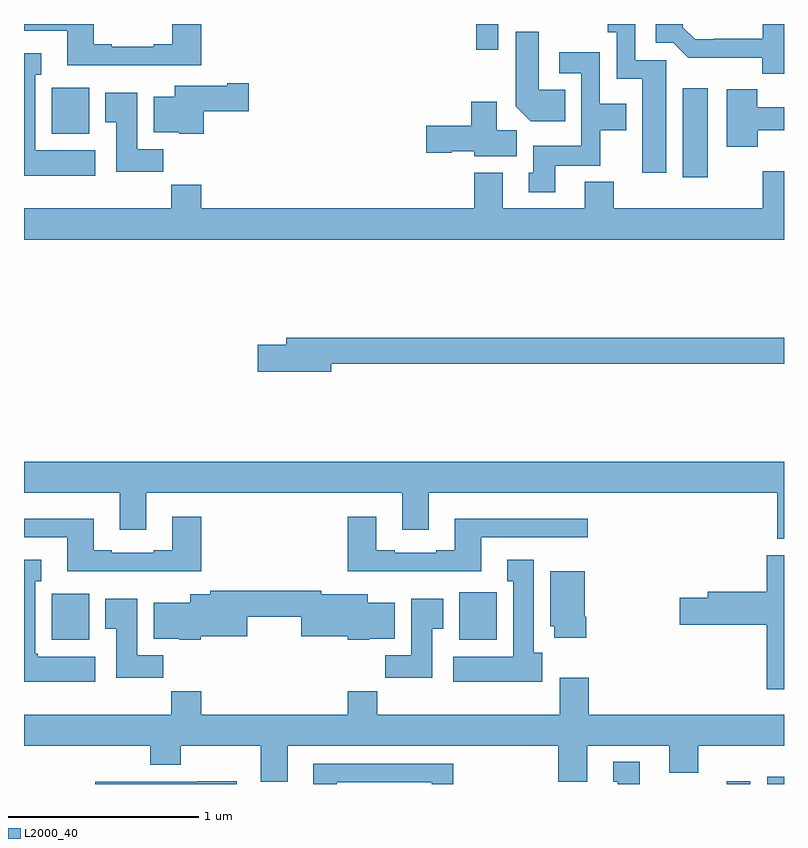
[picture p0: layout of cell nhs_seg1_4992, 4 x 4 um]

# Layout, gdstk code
import gdstk
lib = gdstk.Library(unit=1e-6, precision=1e-09)
def R(c, l, rs):  # rectangles x0, y0, x1, y1
    for r in rs: c.add(gdstk.rectangle(r[:2], r[2:], *l))
def P(c, l, *ps):  # polygons
    for p in ps: c.add(gdstk.Polygon(p, *l))
L2000_40 = (2000, 40)

nhs_seg1_4992 = lib.new_cell('nhs_seg1_4992')
R(nhs_seg1_4992, L2000_40, [(384.698,550.199,384.823,550.213), (384.911,550.199,385,550.237), (381.146,550.958,381.343,551.2), (383.291,550.958,383.487,551.209), (384.467,553.392,384.598,553.861), (381.146,553.622,381.343,553.864), (383.38,554.064,383.496,554.199)])
P(nhs_seg1_4992, L2000_40, [(384.379,554.007),(384.216,554.007),(384.216,554.199),(384.073,554.199),(384.073,554.155),(384.12,554.155),(384.12,553.91),(384.254,553.91),(384.254,553.416),(384.379,553.416)],
  [(385,554.199),(384.887,554.199),(384.887,554.121),(384.631,554.121),(384.631,554.118),(384.532,554.118),(384.468,554.182),(384.468,554.197),(384.324,554.197),(384.324,554.1),(384.417,554.1),(384.496,554.022),(384.885,554.022),(384.885,553.937),(385,553.937)],
  [(381.932,554.199),(381.779,554.199),(381.779,554.092),(381.683,554.092),(381.683,554.079),(381.463,554.079),(381.463,554.092),(381.367,554.092),(381.367,554.199),(381,554.199),(381,554.163),(381.227,554.163),(381.227,553.982),(381.932,553.982)],
  [(383.849,553.852),(383.71,553.852),(383.71,554.158),(383.588,554.158),(383.588,553.766),(383.666,553.688),(383.849,553.688)],
  [(383.797,553.454),(384.033,553.454),(384.033,553.64),(384.169,553.64),(384.169,553.78),(384.03,553.78),(384.03,554.05),(383.817,554.05),(383.817,553.941),(383.934,553.941),(383.934,553.558),(383.681,553.558),(383.681,553.416),(383.657,553.416),(383.657,553.314),(383.797,553.314)],
  [(381.376,553.534),(381.058,553.534),(381.058,553.931),(381.091,553.931),(381.091,554.044),(381,554.044),(381,553.4),(381.376,553.4)],
  [(381.947,553.739),(382.183,553.739),(382.183,553.886),(382.07,553.886),(382.07,553.873),(381.794,553.873),(381.794,553.816),(381.683,553.816),(381.683,553.628),(381.816,553.628),(381.816,553.622),(381.947,553.622)],
  [(384.862,553.64),(385,553.64),(385,553.762),(384.86,553.762),(384.86,553.855),(384.698,553.855),(384.698,553.554),(384.862,553.554)],
  [(381.734,553.54),(381.595,553.54),(381.595,553.837),(381.428,553.837),(381.428,553.681),(381.485,553.681),(381.485,553.422),(381.734,553.422)],
  [(383.593,553.64),(383.488,553.64),(383.488,553.789),(383.354,553.789),(383.354,553.664),(383.118,553.664),(383.118,553.522),(383.25,553.522),(383.25,553.529),(383.37,553.529),(383.37,553.502),(383.593,553.502)],
  [(385,553.423),(384.887,553.423),(384.887,553.228),(384.104,553.228),(384.104,553.369),(383.951,553.369),(383.951,553.228),(383.521,553.228),(383.521,553.417),(383.369,553.417),(383.369,553.228),(381.932,553.228),(381.932,553.352),(381.775,553.352),(381.775,553.228),(381,553.228),(381,553.064),(385,553.064)],
  [(382.618,552.412),(385,552.412),(385,552.548),(382.379,552.548),(382.379,552.512),(382.23,552.512),(382.23,552.37),(382.618,552.37)],
  [(385,551.896),(381,551.896),(381,551.732),(381.503,551.732),(381.503,551.538),(381.643,551.538),(381.643,551.732),(382.991,551.732),(382.991,551.538),(383.131,551.538),(383.131,551.732),(384.965,551.732),(384.965,551.489),(385,551.489)],
  [(381.932,551.605),(381.779,551.605),(381.779,551.428),(381.683,551.428),(381.683,551.415),(381.463,551.415),(381.463,551.428),(381.367,551.428),(381.367,551.596),(381,551.596),(381,551.499),(381.227,551.499),(381.227,551.318),(381.932,551.318)],
  [(383.407,551.499),(383.968,551.499),(383.968,551.596),(383.267,551.596),(383.267,551.428),(383.171,551.428),(383.171,551.415),(382.951,551.415),(382.951,551.428),(382.855,551.428),(382.855,551.605),(382.703,551.605),(382.703,551.318),(383.407,551.318)],
  [(385,551.404),(384.908,551.404),(384.908,551.21),(384.599,551.21),(384.599,551.18),(384.45,551.18),(384.45,551.038),(384.908,551.038),(384.908,550.697),(385,550.697)],
  [(383.728,550.89),(383.683,550.89),(383.683,551.38),(383.543,551.38),(383.543,551.267),(383.576,551.267),(383.576,550.87),(383.259,550.87),(383.259,550.736),(383.728,550.736)],
  [(381.376,550.87),(381.072,550.87),(381.072,550.884),(381.058,550.884),(381.058,551.267),(381.091,551.267),(381.091,551.38),(381,551.38),(381,550.736),(381.376,550.736)],
  [(383.958,551.08),(383.95,551.08),(383.95,551.32),(383.771,551.32),(383.771,551.028),(383.792,551.028),(383.792,550.968),(383.958,550.968)],
  [(381.93,550.976),(382.174,550.976),(382.174,551.08),(382.46,551.08),(382.46,550.976),(382.704,550.976),(382.704,550.958),(382.818,550.958),(382.818,550.964),(382.951,550.964),(382.951,551.152),(382.81,551.152),(382.81,551.197),(382.564,551.197),(382.564,551.216),(381.979,551.216),(381.979,551.197),(381.875,551.197),(381.875,551.152),(381.683,551.152),(381.683,550.964),(381.816,550.964),(381.816,550.958),(381.93,550.958)],
  [(383.149,551.017),(383.206,551.017),(383.206,551.173),(383.039,551.173),(383.039,550.876),(382.9,550.876),(382.9,550.758),(383.149,550.758)],
  [(381.734,550.876),(381.595,550.876),(381.595,551.173),(381.428,551.173),(381.428,551.017),(381.485,551.017),(381.485,550.758),(381.734,550.758)],
  [(382.387,550.4),(383.813,550.4),(383.813,550.211),(383.965,550.211),(383.965,550.4),(384.395,550.4),(384.395,550.259),(384.548,550.259),(384.548,550.4),(385,550.4),(385,550.564),(383.972,550.564),(383.972,550.759),(383.819,550.759),(383.819,550.564),(382.859,550.564),(382.859,550.688),(382.703,550.688),(382.703,550.564),(381.932,550.564),(381.932,550.688),(381.775,550.688),(381.775,550.564),(381,550.564),(381,550.4),(381.665,550.4),(381.665,550.301),(381.825,550.301),(381.825,550.4),(382.247,550.4),(382.247,550.21),(382.387,550.21)],
  [(384.241,550.315),(384.101,550.315),(384.101,550.212),(384.125,550.212),(384.125,550.199),(384.241,550.199)],
  [(382.645,550.209),(383.147,550.209),(383.147,550.199),(383.26,550.199),(383.26,550.305),(382.523,550.305),(382.523,550.199),(382.645,550.199)],
  [(382.119,550.214),(381.913,550.214),(381.913,550.212),(381.375,550.212),(381.375,550.199),(382.119,550.199)])

lib.write_gds('nhs_seg1_4992.gds')
